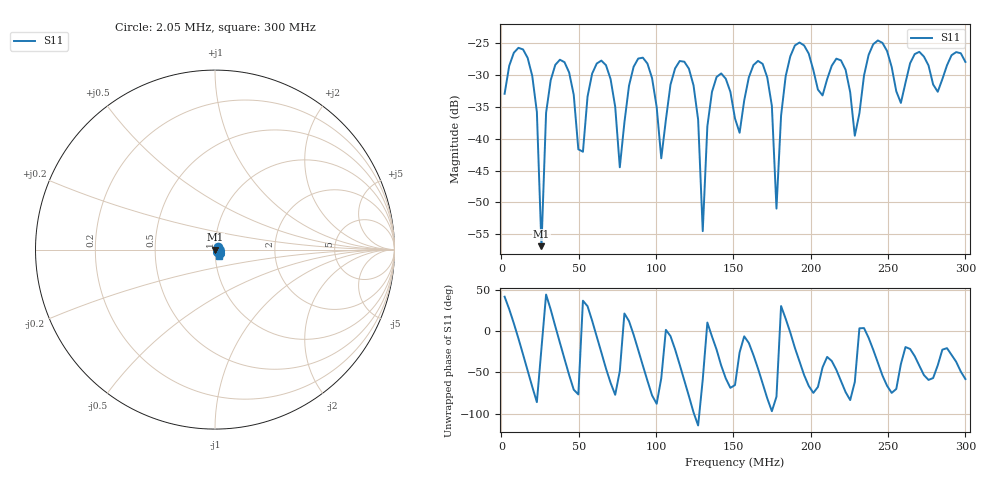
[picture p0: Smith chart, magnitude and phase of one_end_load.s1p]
# Hz S RI R 50
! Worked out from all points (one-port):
!   101 points, 2.05 MHz to 300 MHz, reference 50 ohm
!   lowest |S11| = -56.9 dB at 25.89 MHz (marker M1), VSWR 1.00, Z = 50.1 - j0.0513 ohm
!   |S11| at or under -10 dB: start of sweep to end of sweep
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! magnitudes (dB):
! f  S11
! 2.05 MHz  -32.9
! 19.93 MHz  -30.1
! 22.91 MHz  -35.8
! 25.89 MHz  -56.9
! 28.87 MHz  -35.9
! 40.78 MHz  -28.0
! 52.7 MHz  -42.0
! 58.66 MHz  -29.7
! 67.6 MHz  -28.4
! 76.54 MHz  -44.5
! 88.46 MHz  -27.4
! 103.4 MHz  -43.1
! 115.3 MHz  -27.8
! 124.2 MHz  -31.6
! 130.2 MHz  -54.5
! 136.1 MHz  -32.6
! 151 MHz  -36.8
! 168.9 MHz  -28.2
! 174.9 MHz  -34.8
! 177.8 MHz  -51.0
! 180.8 MHz  -36.4
! 189.8 MHz  -25.3
! 225.5 MHz  -32.7
! 228.5 MHz  -39.5
! 240.4 MHz  -25.1
! 258.3 MHz  -34.4
! 264.2 MHz  -28.1
! 300 MHz  -27.9
